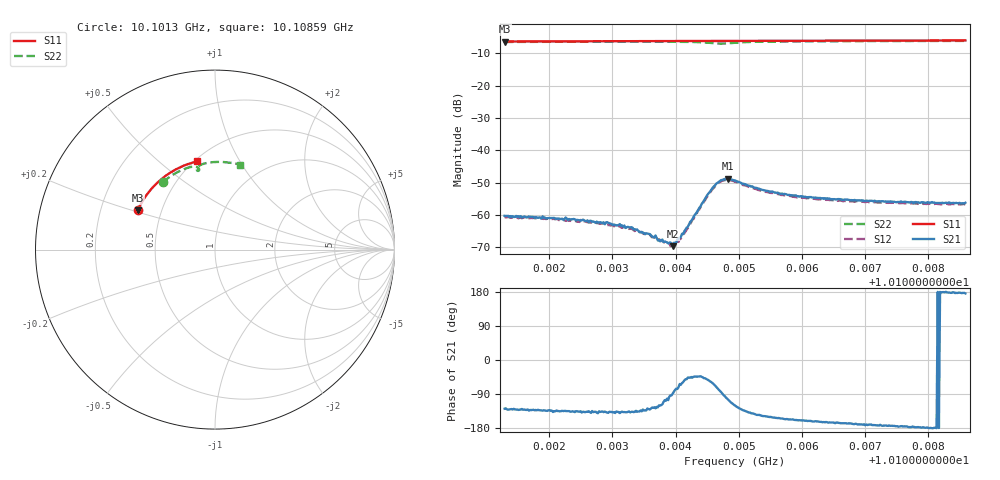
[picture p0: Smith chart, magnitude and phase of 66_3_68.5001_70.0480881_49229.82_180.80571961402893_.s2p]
#  HZ  S  RI  R  50.00
! Rohde & Schwarz Vector Network Analyzer
! Rohde-Schwarz,ZNB20-2Port,1311601062101988,3.16
! Created: UTC 3/20/2024, 5:06:42 PM
! freq[Hz]  re:S11  im:S11  re:S21  im:S21  re:S12  im:S12  re:S22  im:S22
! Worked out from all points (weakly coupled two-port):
!   401 points, 10.1013 GHz to 10.10859 GHz, reference 50 ohm
!   highest |S21| = -48.79 dB at 10.10483 GHz (marker M1); lowest = -69.7 dB at 10.10396 GHz (marker M2)
!   lowest |S11| = -6.3 dB at 10.1013 GHz (marker M3), VSWR 2.87, Z = 18.3 + j10.5 ohm
!   |S11| at or under -10 dB: nowhere
!   |S22| runs from -7.0 to -6.1 dB; largest |S21 - S12| = 0.00039
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1.0101296e10  -0.4297 0.2198  -0.000602 -0.000755  -0.000533 -0.000761  -0.2918 0.3748
1.0102098e10  -0.4076 0.2633  -0.000628 -0.000614  -0.000536 -0.000665  -0.2504 0.4066
1.0102517e10  -0.3942 0.2851  -0.000616 -0.000544  -0.000516 -0.000567  -0.2272 0.4212
1.0102936e10  -0.3798 0.3061  -0.000574 -0.000493  -0.000462 -0.000522  -0.2029 0.4346
1.0103283e10  -0.367 0.3227  -0.000477 -0.000426  -0.000418 -0.000452  -0.1818 0.4446
1.0103483e10  -0.3594 0.3321  -0.000348 -0.000405  -0.000334 -0.000393  -0.1691 0.4497
1.0103574e10  -0.3559 0.3364  -0.000324 -0.000392  -0.000271 -0.000405  -0.163 0.452
1.0103738e10  -0.3491 0.3439  -0.000203 -0.000354  -0.000165 -0.000387  -0.1521 0.4558
1.0103957e10  -0.3403 0.3536  9.92e-06 -0.000328  3.03e-05 -0.000357  -0.1364 0.46
1.0103993e10  -0.3387 0.3553  7.18e-05 -0.00036  0.000103 -0.000357  -0.1338 0.4606
1.0104048e10  -0.3364 0.3576  0.000137 -0.000411  0.000157 -0.000348  -0.1295 0.4613
1.0104121e10  -0.3332 0.3608  0.000265 -0.000429  0.000299 -0.0004  -0.1237 0.462
1.0104485e10  -0.3171 0.376  0.00122 -0.00145  0.00131 -0.00126  -0.0929 0.455
1.0104613e10  -0.3116 0.3812  0.00117 -0.00254  0.0013 -0.00232  -0.088 0.4447
1.0104722e10  -0.3065 0.3854  0.000308 -0.00344  0.000588 -0.00326  -0.0928 0.4384
1.0104832e10  -0.3018 0.3897  -0.000952 -0.00351  -0.000602 -0.00343  -0.0999 0.4418
1.0104941e10  -0.2968 0.394  -0.00172 -0.00294  -0.00138 -0.00295  -0.1009 0.4511
1.0105433e10  -0.2732 0.4124  -0.00201 -0.00121  -0.00182 -0.00134  -0.0699 0.4761
1.0105798e10  -0.255 0.4248  -0.00188 -0.000803  -0.00173 -0.000943  -0.0441 0.4828
1.0106162e10  -0.2362 0.4365  -0.00177 -0.000568  -0.00164 -0.000758  -0.0194 0.4864
1.0107383e10  -0.17 0.4692  -0.00158 -0.000204  -0.00151 -0.000326  0.0608 0.487
1.0108586e10  -0.1006 0.4911  -0.00154 0.000117  -0.00145 -4.07e-05  0.1368 0.4738
